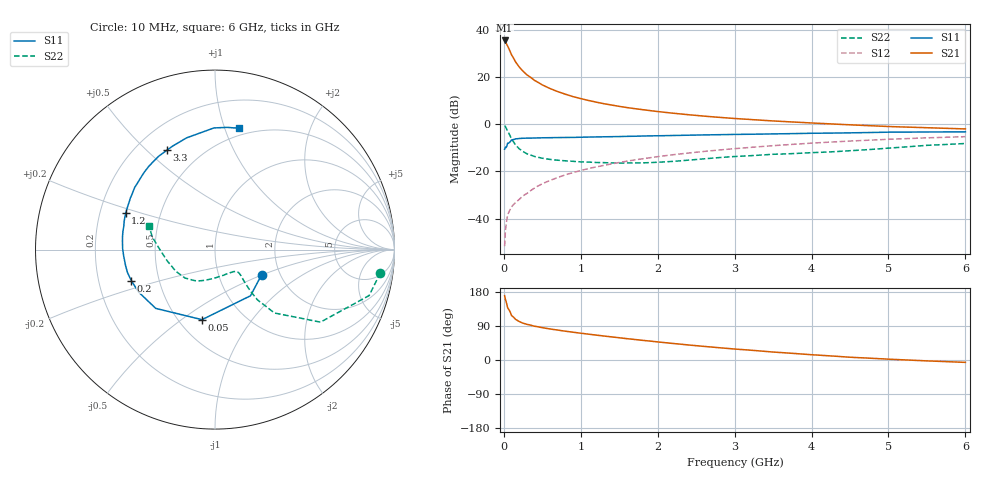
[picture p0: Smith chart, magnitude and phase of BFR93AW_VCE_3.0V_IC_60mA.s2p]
! Infineon Technologies  Discrete & RF Semiconductors
! BFR93AW
! VCE =  3.0 V,  IC =  60 mA
! Common Emitter S-Parameters:  Jan 2017
# GHz  S  MA  R  50
!  f  S11  S21  S12  S22
! GHz  MAG  ANG  MAG  ANG  MAG  ANG  MAG  ANG
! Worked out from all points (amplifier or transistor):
!   77 points, 10 MHz to 6 GHz, reference 50 ohm
!   highest |S21| = 35.5 dB at 10 MHz (marker M1)
!   |S21| within 3 dB of that: start of sweep to 58.72 MHz
!   unconditionally stable (mu >= 1): 298 MHz to 2.206 GHz
!   at 130 MHz: K = 0.71, MSG = 30.8 dB, |S12| = -33.9 dB
!   at 2.2 GHz: K = 1.00, MAG = 8.7 dB, |S12| = -13.0 dB
!   at 6 GHz: K = 0.92, MSG = 1.6 dB, |S12| = -5.3 dB
!   S11 on the Smith chart (normalised r, x): 10 MHz: 1.61, -0.49; 50 MHz: 0.65, -0.60; 200 MHz: 0.35, -0.16; 1.2 GHz: 0.31, +0.18; 3.3 GHz: 0.32, +0.58; 6 GHz: 0.43, +1.12
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0.01  0.2952 -28.2  59.51 169.7  0.0026 78.7  0.9304 -8.0
0.02  0.3245 -52.5  57.47 160.2  0.0053 74.7  0.896 -16.6
0.05  0.397 -100.5  45.13 137.4  0.0119 63.8  0.7135 -34.5
0.1  0.465 -135.2  29.56 117.4  0.0177 59.5  0.4847 -46.8
0.15  0.487 -150.9  21.16 107.6  0.0217 61.6  0.3659 -49.8
0.2  0.4974 -159.7  16.3 101.5  0.0255 63.9  0.3013 -49.5
0.25  0.5042 -165.4  13.24 97.1  0.0304 66.2  0.2626 -48.3
0.3  0.5061 -169.8  11.12 94.1  0.0341 68.1  0.2361 -47.2
0.4  0.5102 -176.1  8.458 89.1  0.0445 71.4  0.2067 -45.2
0.5  0.5148 179.2  6.799 85.3  0.0547 72.0  0.19 -44.3
0.6  0.5174 175.1  5.705 81.9  0.0643 72.8  0.1793 -44.5
0.7  0.5205 171.9  4.907 79.0  0.0741 73.2  0.1725 -45.0
0.9  0.5245 165.7  3.842 73.3  0.0942 72.4  0.1634 -48.5
1.1  0.5336 160.3  3.185 68.2  0.1147 72.0  0.1575 -53.1
1.2  0.5371 157.9  2.934 65.7  0.1243 71.2  0.1544 -55.9
1.6  0.5523 148.6  2.253 56.3  0.1646 68.5  0.1507 -70.4
2.1  0.5717 137.9  1.78 45.7  0.2152 64.0  0.1592 -91.8
3.1  0.6095 119.3  1.289 27.5  0.3124 53.5  0.2105 -126.1
3.3  0.6151 115.8  1.229 24.4  0.3313 51.4  0.2195 -131.6
4.1  0.6442 102.8  1.043 12.7  0.4051 42.4  0.2527 -154.5
5.1  0.6785 89.3  0.882 1.3  0.485 31.0  0.3191 176.6
6  0.689 79.0  0.794 -6.3  0.5441 20.8  0.3898 160.6
